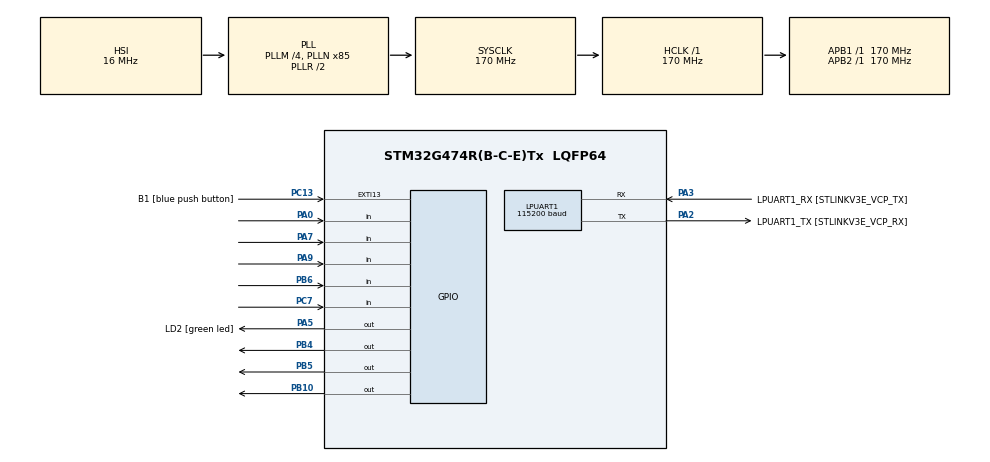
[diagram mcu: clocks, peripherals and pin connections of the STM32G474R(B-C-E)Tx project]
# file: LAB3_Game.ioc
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ARM.CMSIS-DSP.1.15.0.CMSISJjDSP=Source
ARM.CMSIS.6.0.0.CMSISJjCORE=true
LPUART1.BaudRate=115200
LPUART1.WordLength=UART_WORDLENGTH_8B
Mcu.Family=STM32G4
Mcu.Name=STM32G474R(B-C-E)Tx
Mcu.Package=LQFP64
NVIC.EXTI15_10_IRQn=true\:0\:0\:false\:false\:true\:true\:true\:true
NVIC.PriorityGroup=NVIC_PRIORITYGROUP_4
PA0.Signal=GPIO_Input
PA13.GPIO_Label=T_SWDIO
PA13.Mode=Serial_Wire
PA13.Signal=SYS_JTMS-SWDIO
PA14.GPIO_Label=T_SWCLK
PA14.Mode=Serial_Wire
PA14.Signal=SYS_JTCK-SWCLK
PA2.GPIO_Label=LPUART1_TX [STLINKV3E_VCP_RX]
PA2.Mode=Asynchronous
PA2.Signal=LPUART1_TX
PA3.GPIO_Label=LPUART1_RX [STLINKV3E_VCP_TX]
PA3.Mode=Asynchronous
PA3.Signal=LPUART1_RX
PA5.GPIO_Label=LD2 [green led]
PA5.Signal=GPIO_Output
PA7.GPIO_PuPd=GPIO_PULLUP
PA7.Signal=GPIO_Input
PA9.GPIO_PuPd=GPIO_PULLUP
PA9.Signal=GPIO_Input
PB10.GPIO_ModeDefaultOutputPP=GPIO_MODE_OUTPUT_OD
PB10.GPIO_PuPd=GPIO_NOPULL
PB10.PinState=GPIO_PIN_SET
PB10.Signal=GPIO_Output
PB3.GPIO_Label=T_SWO
PB3.Signal=SYS_JTDO-SWO
PB4.GPIO_ModeDefaultOutputPP=GPIO_MODE_OUTPUT_OD
PB4.GPIO_PuPd=GPIO_NOPULL
PB4.PinState=GPIO_PIN_SET
PB4.Signal=GPIO_Output
PB5.GPIO_ModeDefaultOutputPP=GPIO_MODE_OUTPUT_OD
PB5.GPIO_PuPd=GPIO_NOPULL
PB5.PinState=GPIO_PIN_SET
PB5.Signal=GPIO_Output
PB6.GPIO_PuPd=GPIO_PULLUP
PB6.Signal=GPIO_Input
PC13.GPIO_Label=B1 [blue push button]
PC13.Signal=GPXTI13
PC14-OSC32_IN.Mode=LSE-External-Oscillator
PC14-OSC32_IN.Signal=RCC_OSC32_IN
PC15-OSC32_OUT.Mode=LSE-External-Oscillator
PC15-OSC32_OUT.Signal=RCC_OSC32_OUT
PC7.GPIO_PuPd=GPIO_PULLUP
PC7.Signal=GPIO_Input
PF0-OSC_IN.Mode=HSE-External-Oscillator
PF0-OSC_IN.Signal=RCC_OSC_IN
PF1-OSC_OUT.Mode=HSE-External-Oscillator
PF1-OSC_OUT.Signal=RCC_OSC_OUT
ProjectManager.HeapSize=0x200
ProjectManager.StackSize=0x400
ProjectManager.TargetToolchain=STM32CubeIDE
RCC.ADC12Freq_Value=170000000
RCC.ADC345Freq_Value=170000000
RCC.AHBFreq_Value=170000000
RCC.APB1Freq_Value=170000000
RCC.APB1TimFreq_Value=170000000
RCC.APB2Freq_Value=170000000
RCC.APB2TimFreq_Value=170000000
RCC.CortexFreq_Value=170000000
RCC.EXTERNAL_CLOCK_VALUE=12288000
RCC.HCLKFreq_Value=170000000
RCC.HSE_VALUE=24000000
RCC.HSI48_VALUE=48000000
RCC.HSI_VALUE=16000000
RCC.PLLM=RCC_PLLM_DIV4
RCC.PLLN=85
RCC.RTCClockSelection=RCC_RTCCLKSOURCE_LSE
RCC.SYSCLKFreq_VALUE=170000000
RCC.SYSCLKSource=RCC_SYSCLKSOURCE_PLLCLK
RCC.USBFreq_Value=170000000
RCC.VCOOutputFreq_Value=340000000
VP_ARM.CMSIS-DSP_VS_CMSISJjDSP_1.15.0_1.15.0.Mode=CMSISJjDSP
VP_ARM.CMSIS_VS_CMSISJjCORE_6.0.0_6.0.0.Mode=CMSISJjCORE
VP_SYS_VS_DBSignals.Mode=DisableDeadBatterySignals
board=NUCLEO-G474RE

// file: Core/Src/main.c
/* USER CODE BEGIN Header */
/**
  ******************************************************************************
  * @file           : main.c
  * @brief          : Main program body
  ******************************************************************************
  * @attention
  *
  * Copyright (c) 2024 STMicroelectronics.
  * All rights reserved.
  *
  * This software is licensed under terms that can be found in the LICENSE file
  * in the root directory of this software component.
  * If no LICENSE file comes with this software, it is provided AS-IS.
  *
  ******************************************************************************
  */
/* USER CODE END Header */
#include "main.h"

UART_HandleTypeDef hlpuart1;

/* USER CODE BEGIN PV */
uint16_t ButtonState = 0;
uint16_t secretNumber; //random_number 0-999
uint16_t Number = 0; //button 0-9
uint16_t n = 0; //position in array
int bm = 0;
int mode = 0;
int state = 0;
int guessCount = 0; //count1-5
int guessNumber[3]; //input
//int RandomNumber[3]; //check_number
struct _ButMtx_Struct
{
	GPIO_TypeDef* Port;
	uint16_t Pin;
};

struct _ButMtx_Struct BMX_L[4] = {
	{GPIOA,GPIO_PIN_9},
	{GPIOC,GPIO_PIN_7},
	{GPIOB,GPIO_PIN_6},
	{GPIOA,GPIO_PIN_7}
};

struct _ButMtx_Struct BMX_R[3] = {
	{GPIOB,GPIO_PIN_5},
	{GPIOB,GPIO_PIN_4},
	{GPIOB,GPIO_PIN_10},
};

/* USER CODE END PV */

void SystemClock_Config(void);
static void MX_GPIO_Init(void);
static void MX_LPUART1_UART_Init(void);
/* USER CODE BEGIN PFP */
void ButtonMatrixRead();
void CheckNumber();
void CheckRandom();
/* USER CODE END PFP */

int main(void)
{

  /* USER CODE BEGIN 1 */
	//secretNumber = rand()%999; // Generate a random number between 0 and 999
  /* USER CODE END 1 */

  /* MCU Configuration--------------------------------------------------------*/

  /* Reset of all peripherals, Initializes the Flash interface and the Systick. */
  HAL_Init();

  /* Configure the system clock */
  SystemClock_Config();

  /* Initialize all configured peripherals */
  MX_GPIO_Init();
  MX_LPUART1_UART_Init();

  /* Infinite loop */
  while (1)
  {

    /* USER CODE BEGIN 3 */
	  static uint32_t BTMX_TimeStamp = 0;
	  if(HAL_GetTick() > BTMX_TimeStamp)
	  {
	  	BTMX_TimeStamp = HAL_GetTick() + 25; //next scan in 25 ms
	  	ButtonMatrixRead();
	  	CheckNumber();
	  	CheckRandom();
	  }
	  bm = HAL_GPIO_ReadPin(GPIOC, GPIO_PIN_13);    //change GPIO
	  if(bm == 1 && mode == 0){
		  secretNumber = rand()%999; // Generate a random number between 0 and 999
		  mode = 1;
	  }
  }
  /* USER CODE END 3 */
}

void SystemClock_Config(void)
{
  RCC_OscInitTypeDef RCC_OscInitStruct = {0};
  RCC_ClkInitTypeDef RCC_ClkInitStruct = {0};

  /** Configure the main internal regulator output voltage
  */
  HAL_PWREx_ControlVoltageScaling(PWR_REGULATOR_VOLTAGE_SCALE1_BOOST);

  /** Initializes the RCC Oscillators according to the specified parameters
  * in the RCC_OscInitTypeDef structure.
  */
  RCC_OscInitStruct.OscillatorType = RCC_OSCILLATORTYPE_HSI;
  RCC_OscInitStruct.HSIState = RCC_HSI_ON;
  RCC_OscInitStruct.HSICalibrationValue = RCC_HSICALIBRATION_DEFAULT;
  RCC_OscInitStruct.PLL.PLLState = RCC_PLL_ON;
  RCC_OscInitStruct.PLL.PLLSource = RCC_PLLSOURCE_HSI;
  RCC_OscInitStruct.PLL.PLLM = RCC_PLLM_DIV4;
  RCC_OscInitStruct.PLL.PLLN = 85;
  RCC_OscInitStruct.PLL.PLLP = RCC_PLLP_DIV2;
  RCC_OscInitStruct.PLL.PLLQ = RCC_PLLQ_DIV2;
  RCC_OscInitStruct.PLL.PLLR = RCC_PLLR_DIV2;
  if (HAL_RCC_OscConfig(&RCC_OscInitStruct) != HAL_OK)
  {
    Error_Handler();
  }

  /** Initializes the CPU, AHB and APB buses clocks
  */
  RCC_ClkInitStruct.ClockType = RCC_CLOCKTYPE_HCLK|RCC_CLOCKTYPE_SYSCLK
                              |RCC_CLOCKTYPE_PCLK1|RCC_CLOCKTYPE_PCLK2;
  RCC_ClkInitStruct.SYSCLKSource = RCC_SYSCLKSOURCE_PLLCLK;
  RCC_ClkInitStruct.AHBCLKDivider = RCC_SYSCLK_DIV1;
  RCC_ClkInitStruct.APB1CLKDivider = RCC_HCLK_DIV1;
  RCC_ClkInitStruct.APB2CLKDivider = RCC_HCLK_DIV1;

  if (HAL_RCC_ClockConfig(&RCC_ClkInitStruct, FLASH_LATENCY_4) != HAL_OK)
  {
    Error_Handler();
  }
}

static void MX_LPUART1_UART_Init(void)
{

  hlpuart1.Instance = LPUART1;
  hlpuart1.Init.BaudRate = 115200;
  hlpuart1.Init.WordLength = UART_WORDLENGTH_8B;
  hlpuart1.Init.StopBits = UART_STOPBITS_1;
  hlpuart1.Init.Parity = UART_PARITY_NONE;
  hlpuart1.Init.Mode = UART_MODE_TX_RX;
  hlpuart1.Init.HwFlowCtl = UART_HWCONTROL_NONE;
  hlpuart1.Init.OneBitSampling = UART_ONE_BIT_SAMPLE_DISABLE;
  hlpuart1.Init.ClockPrescaler = UART_PRESCALER_DIV1;
  hlpuart1.AdvancedInit.AdvFeatureInit = UART_ADVFEATURE_NO_INIT;
  if (HAL_UART_Init(&hlpuart1) != HAL_OK)
  {
    Error_Handler();
  }
  if (HAL_UARTEx_SetTxFifoThreshold(&hlpuart1, UART_TXFIFO_THRESHOLD_1_8) != HAL_OK)
  {
    Error_Handler();
  }
  if (HAL_UARTEx_SetRxFifoThreshold(&hlpuart1, UART_RXFIFO_THRESHOLD_1_8) != HAL_OK)
  {
    Error_Handler();
  }
  if (HAL_UARTEx_DisableFifoMode(&hlpuart1) != HAL_OK)
  {
    Error_Handler();
  }

}

static void MX_GPIO_Init(void)
{
  GPIO_InitTypeDef GPIO_InitStruct = {0};

  /* GPIO Ports Clock Enable */
  __HAL_RCC_GPIOC_CLK_ENABLE();
  __HAL_RCC_GPIOF_CLK_ENABLE();
  __HAL_RCC_GPIOA_CLK_ENABLE();
  __HAL_RCC_GPIOB_CLK_ENABLE();

  /*Configure GPIO pin Output Level */
  HAL_GPIO_WritePin(LD2_GPIO_Port, LD2_Pin, GPIO_PIN_RESET);

  /*Configure GPIO pin Output Level */
  HAL_GPIO_WritePin(GPIOB, GPIO_PIN_10|GPIO_PIN_4|GPIO_PIN_5, GPIO_PIN_SET);

  /*Configure GPIO pin : B1_Pin */
  GPIO_InitStruct.Pin = B1_Pin;
  GPIO_InitStruct.Mode = GPIO_MODE_IT_RISING;
  GPIO_InitStruct.Pull = GPIO_NOPULL;
  HAL_GPIO_Init(B1_GPIO_Port, &GPIO_InitStruct);

  /*Configure GPIO pin : PA0 */
  GPIO_InitStruct.Pin = GPIO_PIN_0;
  GPIO_InitStruct.Mode = GPIO_MODE_INPUT;
  GPIO_InitStruct.Pull = GPIO_NOPULL;
  HAL_GPIO_Init(GPIOA, &GPIO_InitStruct);

  /*Configure GPIO pin : LD2_Pin */
  GPIO_InitStruct.Pin = LD2_Pin;
  GPIO_InitStruct.Mode = GPIO_MODE_OUTPUT_PP;
  GPIO_InitStruct.Pull = GPIO_NOPULL;
  GPIO_InitStruct.Speed = GPIO_SPEED_FREQ_LOW;
  HAL_GPIO_Init(LD2_GPIO_Port, &GPIO_InitStruct);

  /*Configure GPIO pins : PA7 PA9 */
  GPIO_InitStruct.Pin = GPIO_PIN_7|GPIO_PIN_9;
  GPIO_InitStruct.Mode = GPIO_MODE_INPUT;
  GPIO_InitStruct.Pull = GPIO_PULLUP;
  HAL_GPIO_Init(GPIOA, &GPIO_InitStruct);

  /*Configure GPIO pins : PB10 PB4 PB5 */
  GPIO_InitStruct.Pin = GPIO_PIN_10|GPIO_PIN_4|GPIO_PIN_5;
  GPIO_InitStruct.Mode = GPIO_MODE_OUTPUT_OD;
  GPIO_InitStruct.Pull = GPIO_NOPULL;
  GPIO_InitStruct.Speed = GPIO_SPEED_FREQ_LOW;
  HAL_GPIO_Init(GPIOB, &GPIO_InitStruct);

  /*Configure GPIO pin : PC7 */
  GPIO_InitStruct.Pin = GPIO_PIN_7;
  GPIO_InitStruct.Mode = GPIO_MODE_INPUT;
  GPIO_InitStruct.Pull = GPIO_PULLUP;
  HAL_GPIO_Init(GPIOC, &GPIO_InitStruct);

  /*Configure GPIO pin : PB6 */
  GPIO_InitStruct.Pin = GPIO_PIN_6;
  GPIO_InitStruct.Mode = GPIO_MODE_INPUT;
  GPIO_InitStruct.Pull = GPIO_PULLUP;
  HAL_GPIO_Init(GPIOB, &GPIO_InitStruct);

  /* EXTI interrupt init*/
  HAL_NVIC_SetPriority(EXTI15_10_IRQn, 0, 0);
  HAL_NVIC_EnableIRQ(EXTI15_10_IRQn);

}

/* USER CODE BEGIN 4 */
void ButtonMatrixRead(){
	static uint8_t X=0;
	for(int i=0; i<4; i++)
	{
	if(HAL_GPIO_ReadPin(BMX_L[i].Port, BMX_L[i].Pin) == GPIO_PIN_RESET)
	{
		ButtonState |= 1 << (i + (X * 4));
	}
	else
	{
		ButtonState &= ~(1 << (i + (X * 4)));
	}
	}
	//set currentL to Hi-z (open drain)
	HAL_GPIO_WritePin(BMX_R[X].Port, BMX_R[X].Pin, GPIO_PIN_SET);
	//set nextL to low
	uint8_t nextX = (X + 1) %3;
	HAL_GPIO_WritePin(BMX_R[nextX].Port, BMX_R[nextX].Pin, GPIO_PIN_RESET);
	X = nextX;
}
void CheckNumber(){
	if(ButtonState == 8)
		{
			Number = 0;
		}
		else if(ButtonState == 4)
		{
			Number = 1;
		}
		else if(ButtonState == 64)
		{
			Number = 2;
		}
		else if(ButtonState == 1024)
		{
			Number = 3;
		}
		else if(ButtonState == 2)
	    {
			Number = 4;
		}
		else if(ButtonState == 32)
		{
			Number = 5;
		}
		else if(ButtonState == 512)
		{
			Number = 6;
		}
		else if(ButtonState == 1)
		{
			Number = 7;
		}
		else if(ButtonState == 16)
		{
			Number = 8;
		}
		else if(ButtonState == 256)
		{
			Number = 9;
		}

		if(ButtonState != 0 && ButtonState != 128 && ButtonState != 2048)
		{
			state = 1;
		}

		if(state == 1)
		{
			if(ButtonState == 0)
			{
				guessNumber[n] = Number;
				n++;
				state = 0;
			}
		}

		if(ButtonState == 2048 && memcmp(secretNumber,guessNumber,sizeof(secretNumber)) == 0) //OK
		{
			HAL_GPIO_WritePin(GPIOA, GPIO_PIN_5,GPIO_PIN_SET); //ไฟติด
		}
}
void CheckRandom(){
	if(mode == 1){
		for(int i = 0; i <= 5; i++)
		{
			guessCount = i;
			if(guessNumber[3] == secretNumber)
			{
				printf("Congratulations! You guessed the correct number.\n");
				HAL_GPIO_WritePin(GPIOA, GPIO_PIN_5,GPIO_PIN_SET); //LED on
				guessCount += 1;
			}
			else{
				if(guessNumber[3] > secretNumber){
					printf("Too high!\n");
				}else{
					printf("Too low!\n");
				}

			}
		}
	}
	HAL_GPIO_WritePin(GPIOA, GPIO_PIN_5,GPIO_PIN_RESET); //LED off
}
/* USER CODE END 4 */

void Error_Handler(void)
{
  __disable_irq();
  while (1)
  {
  }
}
